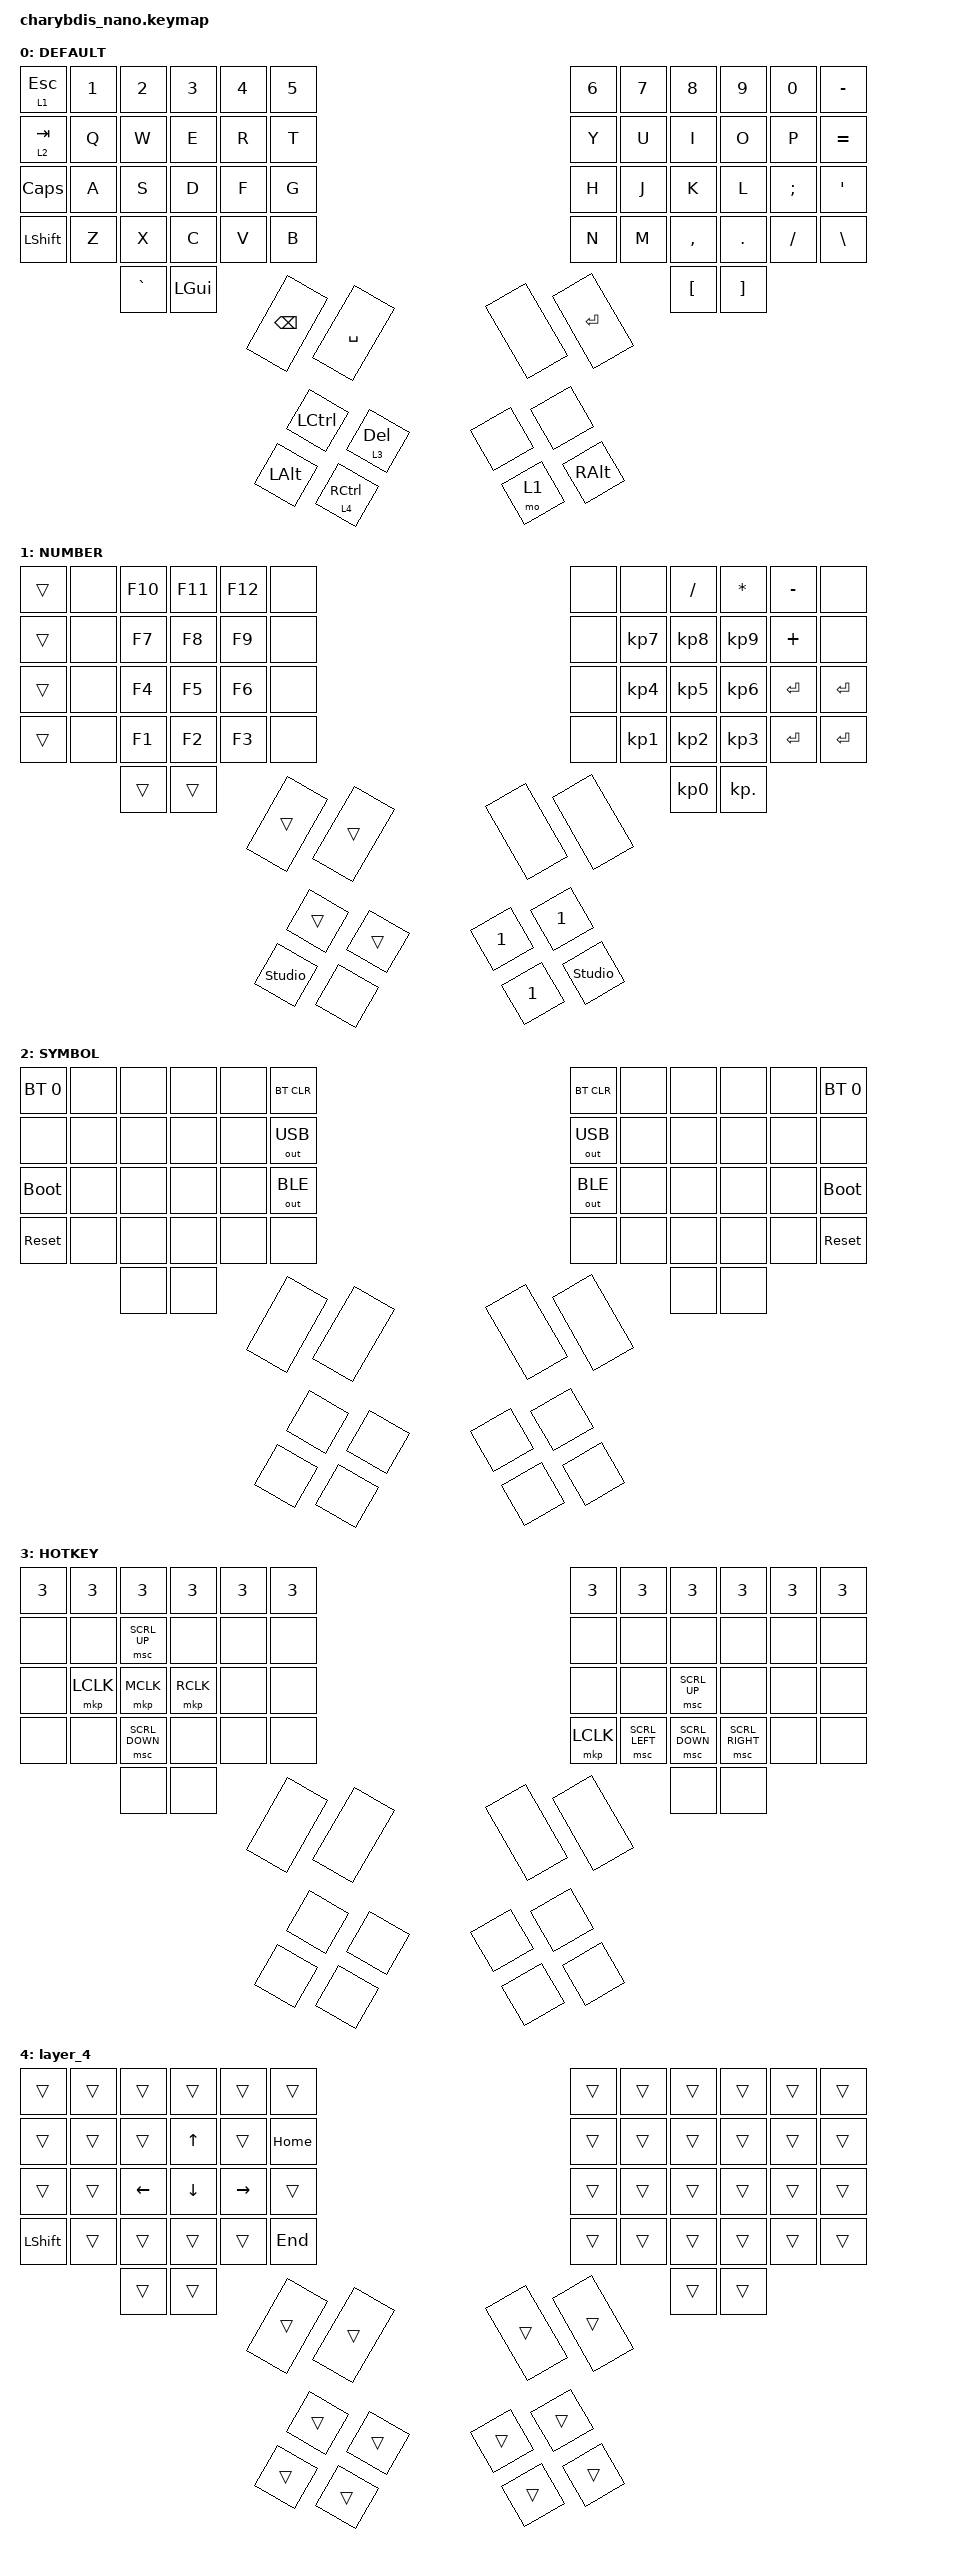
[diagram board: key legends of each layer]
#include <behaviors.dtsi>
#include <dt-bindings/zmk/bt.h>
#include <dt-bindings/zmk/keys.h>
#include <dt-bindings/zmk/outputs.h>
#include <dt-bindings/zmk/pointing.h>

#define DEFAULT 0
#define NUMBER  1
#define SYMBOL  2
#define HOTKEY  3

&lt {
    tapping-term-ms = <200>;
    flavor = "balanced";
    quick-tap-ms = <170>;
};

/ {
    behaviors {
        td0: tap_dance_0 {
            compatible = "zmk,behavior-tap-dance";
            label = "L_CLK";
            #binding-cells = <0>;
            tapping-term-ms = <200>;
            bindings = <&mkp LCLK>, <&mkp LCLK>;
        };

        td1: tap_dance_1 {
            compatible = "zmk,behavior-tap-dance";
            label = "M_CLK";
            #binding-cells = <0>;
            tapping-term-ms = <200>;
            bindings = <&mkp MCLK>, <&mkp MCLK>;
        };

        td2: tap_dance_2 {
            compatible = "zmk,behavior-tap-dance";
            label = "R_CLK";
            #binding-cells = <0>;
            tapping-term-ms = <200>;
            bindings = <&mkp RCLK>, <&mkp RCLK>;
        };
    };

    combos {
        compatible = "zmk,combos";

        combo_esc {
            timeout-ms = <50>;
            key-positions = <31 32>;
            bindings = <&mkp LCLK>;
        };

        combo_rgui {
            timeout-ms = <50>;
            key-positions = <31 32 33>;
            bindings = <&mkp MCLK>;
        };

        combo_LSHFT {
            timeout-ms = <50>;
            key-positions = <32 33>;
            bindings = <&mkp RCLK>;
        };

        combo_2 {
            timeout-ms = <50>;
            key-positions = <20 31>;
            bindings = <&msc SCRL_UP>;
        };

        combo_GUI {
            timeout-ms = <50>;
            key-positions = <31 44>;
            bindings = <&msc SCRL_DOWN>;
        };
    };

    keymap {
        compatible = "zmk,keymap";

        default_layer {
            label = "DEFAULT";
            bindings = <
&lt 1 ESC  &kp N1  &kp N2     &kp N3       &kp N4     &kp N5        &kp N6  &kp N7   &kp N8     &kp N9         &kp N0    &kp MINUS
&lt 2 TAB  &kp Q   &kp W      &kp E        &kp R      &kp T         &kp Y   &kp U    &kp I      &kp O          &kp P     &kp EQUAL
&kp CLCK   &kp A   &kp S      &kp D        &kp F      &kp G         &kp H   &kp J    &kp K      &kp L          &kp SEMI  &kp SQT
&kp LSHFT  &kp Z   &kp X      &kp C        &kp V      &kp B         &kp N   &kp M    &kp COMMA  &kp DOT        &kp FSLH  &kp BSLH
                   &kp GRAVE  &kp LGUI     &kp BSPC   &kp SPACE     &none   &kp RET  &kp LBKT   &kp RBKT
                   &kp LALT   &lt 4 RCTRL  &kp LCTRL  &lt 3 DELETE  &none   &none    &mo 1      &kp RIGHT_ALT
            >;
        };

        number_layer {
            label = "NUMBER";
            bindings = <
&trans  &none  &kp F10         &kp F11  &kp F12  &none   &none   &none      &kp FSLH   &kp STAR        &kp MINUS  &none
&trans  &none  &kp F7          &kp F8   &kp F9   &none   &none   &kp KP_N7  &kp KP_N8  &kp KP_N9       &kp PLUS   &none
&trans  &none  &kp F4          &kp F5   &kp F6   &none   &none   &kp KP_N4  &kp KP_N5  &kp KP_N6       &kp ENTER  &kp RET
&trans  &none  &kp F1          &kp F2   &kp F3   &none   &none   &kp KP_N1  &kp KP_N2  &kp KP_N3       &kp ENTER  &kp ENTER
               &trans          &trans   &trans   &trans  &none   &none      &kp KP_N0  &kp KP_DOT
               &studio_unlock  &none    &trans   &trans  &kp N1  &kp N1     &kp N1     &studio_unlock
            >;
        };

        symbol_layer {
            label = "SYMBOL";
            bindings = <
&bt BT_SEL 0  &none  &none  &none  &none  &bt BT_CLR    &bt BT_CLR    &none  &none  &none  &none  &bt BT_SEL 0
&none         &none  &none  &none  &none  &out OUT_USB  &out OUT_USB  &none  &none  &none  &none  &none
&bootloader   &none  &none  &none  &none  &out OUT_BLE  &out OUT_BLE  &none  &none  &none  &none  &bootloader
&sys_reset    &none  &none  &none  &none  &none         &none         &none  &none  &none  &none  &sys_reset
                     &none  &none  &none  &none         &none         &none  &none  &none
                     &none  &none  &none  &none         &none         &none  &none  &none
            >;
        };

        hotkey_layer {
            label = "HOTKEY";
            bindings = <
&kp N3  &kp N3     &kp N3          &kp N3     &kp N3  &kp N3  &kp N3     &kp N3          &kp N3          &kp N3           &kp N3  &kp N3
&none   &none      &msc SCRL_UP    &none      &none   &none   &none      &none           &none           &none            &none   &none
&none   &mkp LCLK  &mkp MCLK       &mkp RCLK  &none   &none   &none      &none           &msc SCRL_UP    &none            &none   &none
&none   &none      &msc SCRL_DOWN  &none      &none   &none   &mkp LCLK  &msc SCRL_LEFT  &msc SCRL_DOWN  &msc SCRL_RIGHT  &none   &none
                   &none           &none      &none   &none   &none      &none           &none           &none
                   &none           &none      &none   &none   &none      &none           &none           &none
            >;
        };

        layer_4 {
            bindings = <
&trans          &trans  &trans    &trans          &trans     &trans    &trans  &trans  &trans  &trans  &trans  &trans
&trans          &trans  &trans    &kp UP_ARROW    &trans     &kp HOME  &trans  &trans  &trans  &trans  &trans  &trans
&trans          &trans  &kp LEFT  &kp DOWN_ARROW  &kp RIGHT  &trans    &trans  &trans  &trans  &trans  &trans  &trans
&kp LEFT_SHIFT  &trans  &trans    &trans          &trans     &kp END   &trans  &trans  &trans  &trans  &trans  &trans
                        &trans    &trans          &trans     &trans    &trans  &trans  &trans  &trans
                        &trans    &trans          &trans     &trans    &trans  &trans  &trans  &trans
            >;
        };
    };
};
